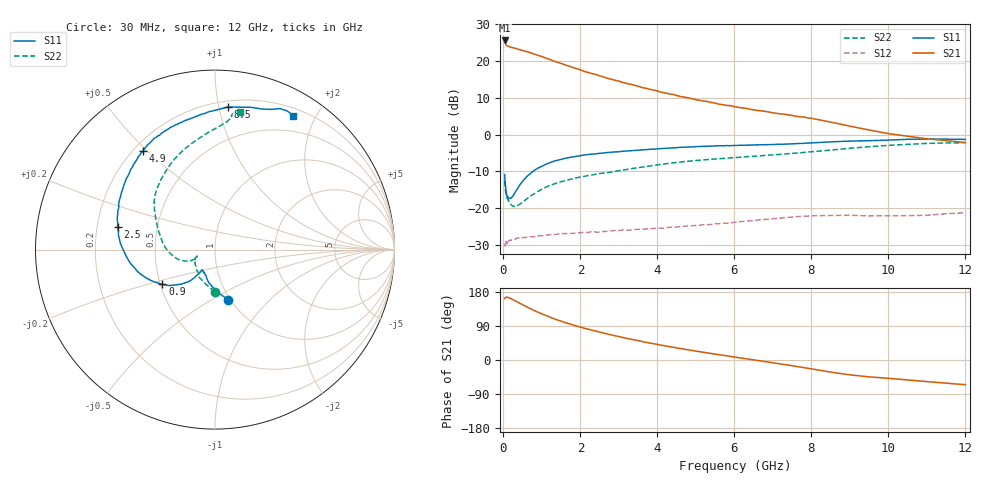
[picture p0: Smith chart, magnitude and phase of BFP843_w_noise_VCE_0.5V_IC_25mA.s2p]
! Infineon Technologies  Discrete & RF Semiconductors
! BFP843
! VCE =  0.5 V,  IC =  25 mA
! Common Emitter S-Parameters:  Aug 2013
# GHz  S  MA  R  50
!  f  S11  S21  S12  S22
! GHz  MAG  ANG  MAG  ANG  MAG  ANG  MAG  ANG
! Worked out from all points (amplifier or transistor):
!   103 points, 30 MHz to 12 GHz, reference 50 ohm
!   highest |S21| = 25.6 dB at 30 MHz (marker M1)
!   |S21| within 3 dB of that: start of sweep to 590.1 MHz
!   unconditionally stable (mu >= 1): 35.23 MHz to end of sweep
!   at 400 MHz: K = 1.12, MAG = 23.6 dB, |S12| = -28.1 dB
!   at 3.7 GHz: K = 1.40, MAG = 15.4 dB, |S12| = -25.7 dB
!   at 12 GHz: K = 1.20, MAG = 6.8 dB, |S12| = -21.2 dB
!   lowest NFmin = 1.12 dB at 450 MHz
!   S11 on the Smith chart (normalised r, x): 30 MHz: 0.98, -0.59; 900 MHz: 0.51, -0.23; 2.5 GHz: 0.29, +0.11; 4.9 GHz: 0.24, +0.49; 8.5 GHz: 0.24, +1.07; 12 GHz: 0.29, +1.70
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0.03  0.2877 -75.3  19.12 161.9  0.0304 26.3  0.2339 -90.3
0.04  0.2384 -86.7  17.95 162.7  0.0324 21.3  0.1987 -105.4
0.05  0.2075 -94.1  17.36 164.7  0.0307 11.4  0.1774 -119.7
0.07  0.1642 -106.7  16.57 165.5  0.0335 16.9  0.1537 -131.1
0.1  0.1405 -115.0  16.06 165.6  0.035 13.7  0.1363 -145.3
0.2  0.1371 -123.0  15.39 161.7  0.037 8.4  0.1112 -159.2
0.3  0.1629 -123.8  14.97 156.5  0.0377 10.3  0.1058 -159.1
0.5  0.2332 -129.8  13.99 145.7  0.0399 8.0  0.1208 -154.1
0.7  0.2963 -138.3  13.02 135.4  0.0408 9.8  0.1459 -155.5
0.9  0.3511 -146.5  11.98 125.9  0.0418 8.8  0.1696 -157.8
1.1  0.3951 -154.0  11.01 117.4  0.043 9.5  0.193 -161.6
1.4  0.4487 -164.3  9.672 105.8  0.0444 9.5  0.2205 -167.5
1.7  0.4876 -173.5  8.552 95.8  0.0451 8.4  0.2443 -173.5
2.1  0.5291 176.0  7.255 83.9  0.0472 7.8  0.2713 179.1
2.5  0.5573 166.8  6.304 73.6  0.0473 8.4  0.2955 172.1
3.3  0.6037 150.6  4.857 55.2  0.0505 7.8  0.3426 158.8
4.1  0.6478 136.6  3.771 39.0  0.0534 7.6  0.394 148.4
4.9  0.6804 125.9  3.091 25.2  0.0576 6.7  0.4396 140.0
6.1  0.7148 114.1  2.359 6.3  0.0652 3.9  0.4914 127.9
8.5  0.798 84.8  1.483 -31.9  0.0795 -11.8  0.6163 100.2
10.5  0.8648 65.3  0.952 -52.6  0.079 -20.8  0.7374 83.2
12  0.8622 59.8  0.782 -65.2  0.0867 -26.5  0.7772 79.8
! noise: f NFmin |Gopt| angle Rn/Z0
0.45  1.12  0.15  -173  0.07
0.9  1.12  0.15  -165  0.1
1.5  1.14  0.16  -158  0.19
1.9  1.16  0.16  -147  0.24
2.4  1.18  0.16  -135  0.31
3.5  1.22  0.17  -119  0.36
5.5  1.33  0.29  -107  0.47
10  1.9  0.53  -59  0.64
